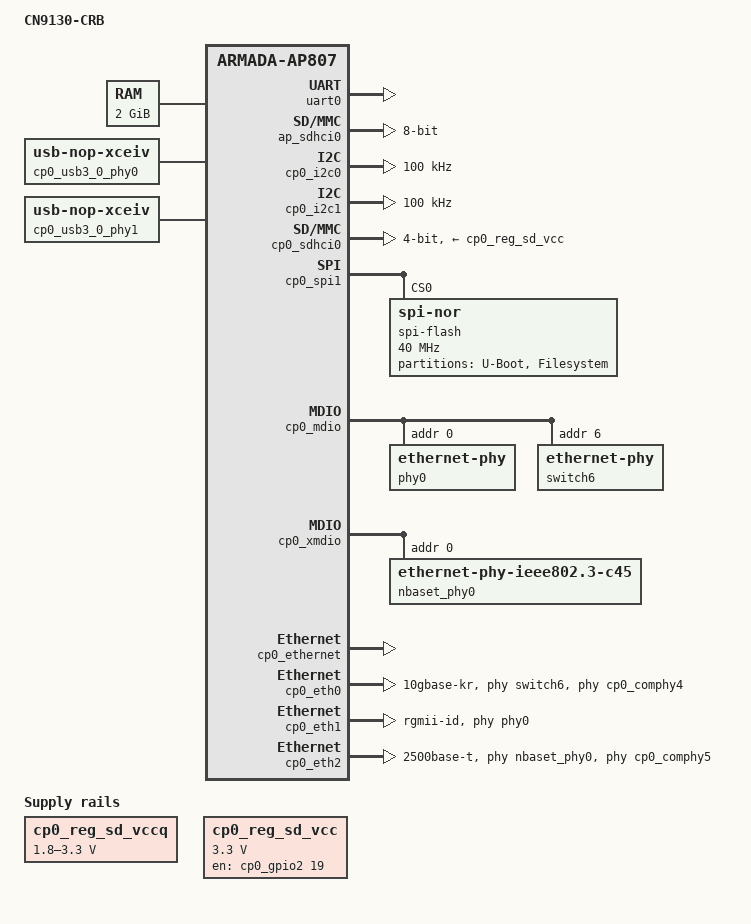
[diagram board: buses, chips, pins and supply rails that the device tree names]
// SPDX-License-Identifier: GPL-2.0+
/*
 * Copyright (C) 2019 Marvell International Ltd.
 */

#include <dt-bindings/gpio/gpio.h>
#include "cn9130.dtsi" /* include SoC device tree */

/ {
	model = "CN9130-CRB";
	compatible = "marvell,cn9130",
		"marvell,armada-ap807-quad",
		"marvell,armada-ap807";

	chosen {
		stdout-path = "serial0:115200n8";
	};

	aliases {
		i2c0 = &cp0_i2c0;
		ethernet0 = &cp0_eth0;
		ethernet1 = &cp0_eth1;
		ethernet2 = &cp0_eth2;
	};

	memory@00000000 {
		device_type = "memory";
		reg = <0x0 0x0 0x0 0x80000000>;
	};

	cp0_usb3_0_phy0: cp0_usb3_phy0 {
		compatible = "usb-nop-xceiv";
	};

	cp0_usb3_0_phy1: cp0_usb3_phy1 {
		compatible = "usb-nop-xceiv";
	};

	cp0_reg_sd_vccq: cp0_sd_vccq@0 {
		compatible = "regulator-gpio";
		regulator-name = "cp0_sd_vccq";
		regulator-min-microvolt = <1800000>;
		regulator-max-microvolt = <3300000>;
		gpios = <&cp0_gpio1 25 GPIO_ACTIVE_HIGH>;
		states = <1800000 0x1
			  3300000 0x0>;
	};

	cp0_reg_sd_vcc: cp0_sd_vcc@0 {
		compatible = "regulator-fixed";
		regulator-name = "cp0_sd_vcc";
		regulator-min-microvolt = <3300000>;
		regulator-max-microvolt = <3300000>;
		gpio = <&cp0_gpio2 19 GPIO_ACTIVE_HIGH>;
		enable-active-high;
		regulator-always-on;
	};
};

&uart0 {
	status = "okay";
};

/* on-board eMMC U6 */
&ap_sdhci0 {
	pinctrl-names = "default";
	bus-width = <8>;
	status = "okay";
};

/*
 * CP0
 */
&cp0_i2c0 {
	pinctrl-names = "default";
	pinctrl-0 = <&cp0_i2c0_pins>;
	status = "okay";
	clock-frequency = <100000>;
};

&cp0_i2c1 {
	clock-frequency = <100000>;
	status = "okay";
};


&cp0_sdhci0 {
	pinctrl-names = "default";
	pinctrl-0 = <&cp0_sdhci_pins
		     &cp0_sdhci_cd_pins>;
	bus-width = <4>;
	broken-cd;
	no-1-8-v;
	vqmmc-supply = <&cp0_reg_sd_vccq>;
	vmmc-supply = <&cp0_reg_sd_vcc>;
	status = "okay";
};

&cp0_spi1 {
	pinctrl-names = "default";
	pinctrl-0 = <&cp0_spi0_pins>;
	reg = <0x700680 0x50>,		/* control */
	      <0x2000000 0x1000000>;	/* CS0 */
	status = "okay";

	spi-flash@0 {
		#address-cells = <0x1>;
		#size-cells = <0x1>;
		compatible = "jedec,spi-nor";
		reg = <0x0>;
		/* On-board MUX does not allow higher frequencies */
		spi-max-frequency = <40000000>;

		partitions {
			compatible = "fixed-partitions";
			#address-cells = <1>;
			#size-cells = <1>;

			partition@0 {
				label = "U-Boot";
				reg = <0x0 0x200000>;
			};

			partition@400000 {
				label = "Filesystem";
				reg = <0x200000 0xe00000>;
			};
		};
	};
};

&cp0_mdio {
	status = "okay";
	phy0: ethernet-phy@0 {
		reg = <0>;
	};
	switch6: ethernet-phy@6 {
		reg = <6>;
	};
};

&cp0_xmdio {
	status = "okay";
	nbaset_phy0: ethernet-phy@0 {
		compatible = "ethernet-phy-ieee802.3-c45";
		reg = <0>;
	};
};

&cp0_ethernet {
	status = "okay";
};

&cp0_eth0 {
	status = "okay";
	phy = <&switch6>;
	phy-mode = "10gbase-kr";
	phys = <&cp0_comphy4 0>;
};

&cp0_eth1 {
	status = "okay";
	phy = <&phy0>;
	phy-mode = "rgmii-id";
};

&cp0_eth2 {
	status = "okay";
	phy = <&nbaset_phy0>;
	phy-mode = "2500base-t";
	phys = <&cp0_comphy5 2>;
};
